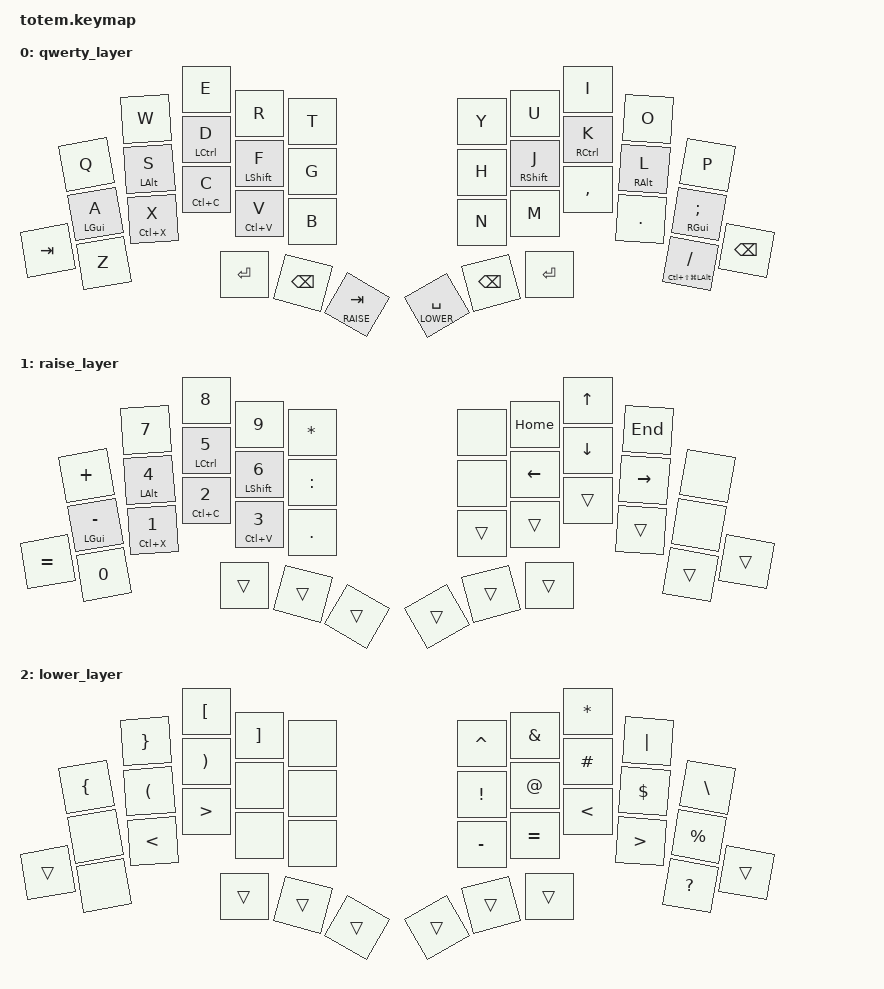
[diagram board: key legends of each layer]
//
//                                                        ▀▀▀▀▀     ▀▀▀▀▀          ▀▀█▀▀
//                                                        ▄▀▀▀▄  ▄  ▄▀▀▀▄  ▄  ▄▀▀▀▄  █  ▄▀▀▀▄
//                                                        █   █  █  █   █  █  █   █  █  █   █
//                                                         ▀▀▀   █   ▀▀▀   █   ▀▀▀   ▀   ▀▀▀
//                                                               █      ▄▄▄█▄▄▄    █   █  
//                                                               ▀      █  █  █     █▄█
//                                                             ▀▀▀▀▀    █  █  █      ▀
//                                                                      ▀  ▀  ▀
//
// ▄▄▄▄▄▄▄▄▄▄▄▄▄▄▄▄▄▄▄▄▄▄▄▄▄▄▄▄▄▄▄▄▄▄▄▄▄▄▄▄▄▄▄▄▄▄▄▄▄▄▄▄▄▄▄▄▄▄▄▄▄▄▄▄▄▄▄▄▄▄▄▄▄▄▄▄▄▄▄▄▄▄▄▄▄▄▄▄▄▄▄▄▄▄▄▄▄▄▄▄▄▄▄▄▄▄▄▄▄▄▄▄▄▄▄▄▄▄▄▄▄▄▄▄▄▄▄▄▄▄▄▄▄▄▄▄▄▄▄▄▄▄▄▄▄▄▄▄▄
       

#include <behaviors.dtsi>
#include <dt-bindings/zmk/keys.h>
#include <dt-bindings/zmk/bt.h>
#include <dt-bindings/zmk/outputs.h>

#define QWERTY 0
#define RAISE 1
#define LOWER 2

//      ╭────────────────╮     ╭────────────────╮
//      |  0  1  2  3  4 |     |  5  6  7  8  9 |
//      ├────────────────┤     ├────────────────┤
// ╭────┤ 10 11 12 13 14 |     | 15 16 17 18 19 ├────╮
// | 20 ├────────────────┤     ├────────────────┤ 31 |
// ╰────┤ 21 22 23 24 25 |     | 26 27 28 29 30 ├────╯
//      ╰───────┬────────┴─╮ ╭─┴────────┬───────╯
//              | 32 33 34 | | 35 36 37 |
//              ╰──────────╯ ╰──────────╯

/ {
    behaviors {
		hm: homerow_mods {
			// https://zmk.dev/docs/behaviors/hold-tap#example-use-cases
			compatible = "zmk,behavior-hold-tap";
			label = "HOMEROW_MODS";
			#binding-cells = <2>;
			tapping-term-ms = <150>;
			quick-tap-ms = <0>;
			flavor = "tap-preferred";
			bindings = <&kp>, <&kp>;
		};
		phm: pinky_homerow_mods {
			compatible = "zmk,behavior-hold-tap";
			label = "HOMEROW_MODS";
			#binding-cells = <2>;
			tapping-term-ms = <200>; // longer because pinkies are weak and slow
			quick-tap-ms = <0>;
			flavor = "tap-preferred";
			bindings = <&kp>, <&kp>;
		};
		td: tap_dance {
			compatible = "zmk,behavior-hold-tap";
			label = "TAP_DANCE";
			#binding-cells = <2>;
			tapping-term-ms = <150>;
			quick-tap-ms = <0>;
			flavor = "tap-preferred";
			bindings = <&kp>, <&kp>;
		};
	};

    combos {
        compatible = "zmk,combos";

		combo_qw {
			timeout-ms = <50>;
			key-positions = <0 1>;
			bindings = <&kp ESCAPE>;
		};
		combo_rt {
			timeout-ms = <50>;
			key-positions = <3 4>;
			bindings = <&kp GRAVE>;
		};
		combo_yu {
			timeout-ms = <50>;
			key-positions = <5 6>;
			bindings = <&kp PLUS>;
		};
		combo_fg {
			timeout-ms = <50>;
			key-positions = <13 14>;
			bindings = <&kp SQT>;
		};
		combo_hj {
			timeout-ms = <50>;
			key-positions = <15 16>;
			bindings = <&kp MINUS>;
		};
		combo_fj {
			timeout-ms = <50>;
			key-positions = <13 16>;
			bindings = <&caps_word>;
		};
		combo_xc {
		    timeout-ms = <50>;
			key-positions = <22 23>;
			bindings = <&kp TILDE>;
		};
		combo_vb {
		    timeout-ms = <50>;
			key-positions = <24 25>;
			bindings = <&kp DQT>;
		};
		combo_nm {
			timeout-ms = <50>;
			key-positions = <26 27>;
			bindings = <&kp EQUAL>;
		};
		combo_commadot {
			timeout-ms = <50>;
			key-positions = <28 29>;
			bindings = <&kp UNDERSCORE>;
		};
    };

    keymap {
        compatible = "zmk,keymap";
// ▄▄▄▄▄▄▄▄▄▄▄▄▄▄▄▄▄▄▄▄▄▄▄▄▄▄▄▄▄▄▄▄▄▄▄▄▄▄▄▄▄▄▄▄▄▄▄▄▄▄▄▄▄▄▄▄▄▄▄▄▄▄▄▄▄▄▄▄▄▄▄▄▄▄▄▄▄▄▄▄▄▄▄▄▄▄▄▄▄▄▄▄▄▄▄▄▄▄▄▄▄▄▄▄▄▄▄▄▄▄▄▄▄▄▄▄▄▄▄▄▄▄▄▄▄▄▄▄▄▄▄▄▄▄▄▄▄▄▄▄▄▄▄▄▄▄▄▄▄

        qwerty_layer {
//             ┏━━━━━━━━━━━┳━━━━━━━━━━━┳━━━━━━━━━━━┳━━━━━━━━━━━┳━━━━━━━━━━━┓   ┏━━━━━━━━━━━┳━━━━━━━━━━━┳━━━━━━━━━━━┳━━━━━━━━━━━┳━━━━━━━━━━━┓
//             ┃     Q     ┃     W     ┃     E     ┃     R     ┃     T     ┃   ┃     Y     ┃     U     ┃     I     ┃     O     ┃     P     ┃
//             ┣━━━━━━━━━━━╋━━━━━━━━━━━╋━━━━━━━━━━━╋━━━━━━━━━━━╋━━━━━━━━━━━┫   ┣━━━━━━━━━━━╋━━━━━━━━━━━╋━━━━━━━━━━━╋━━━━━━━━━━━╋━━━━━━━━━━━┫
//             ┃     A     ┃     S     ┃     D     ┃     F     ┃     G     ┃   ┃     H     ┃     J     ┃     K     ┃     L     ┃     ;     ┃
// ┏━━━━━━━━━━━╋━━━━━━━━━━━╋━━━━━━━━━━━╋━━━━━━━━━━━╋━━━━━━━━━━━╋━━━━━━━━━━━┫   ┣━━━━━━━━━━━╋━━━━━━━━━━━╋━━━━━━━━━━━╋━━━━━━━━━━━╋━━━━━━━━━━━╋━━━━━━━━━━━┓
// ┃    TAB    ┃     Z     ┃     X     ┃     C     ┃     V     ┃     B     ┃   ┃     N     ┃     M     ┃     ,     ┃     .     ┃     /     ┃    BSPC   ┃
// ┗━━━━━━━━━━━┻━━━━━━━━━━━┻━━━━━━━━━━━╋━━━━━━━━━━━╋━━━━━━━━━━━╋━━━━━━━━━━━┫   ┣━━━━━━━━━━━╋━━━━━━━━━━━╋━━━━━━━━━━━╋━━━━━━━━━━━┻━━━━━━━━━━━┻━━━━━━━━━━━┛
//                                     ┃   ENTER   ┃   BSPC    ┃    TAB    ┃   ┃   SPACE   ┃           ┃   ENTER   ┃
//                                     ┗━━━━━━━━━━━┻━━━━━━━━━━━┻━━━━━━━━━━━┛   ┗━━━━━━━━━━━┻━━━━━━━━━━━┻━━━━━━━━━━━┛
            bindings = <
                &kp Q        &kp W       &kp E       &kp R       &kp T           &kp Y       &kp U       &kp I       &kp O       &kp P
                &phm LGUI A  &hm LALT S  &hm LCTRL D &hm LSHFT F &kp G           &kp H       &hm RSHFT J &hm RCTRL K &hm RALT L  &phm RGUI SEMI
    &kp TAB     &kp Z        &td LC(X) X &td LC(C) C &td LC(V) V &kp B           &kp N       &kp M       &kp COMMA   &kp DOT     &phm LC(LS(LG(LALT))) SLASH    &kp BSPC
                                       &kp RET     &kp BSPC  &lt RAISE TAB  &lt LOWER SPACE  &kp BSPC    &kp RET
            >;
        };

// ▄▄▄▄▄▄▄▄▄▄▄▄▄▄▄▄▄▄▄▄▄▄▄▄▄▄▄▄▄▄▄▄▄▄▄▄▄▄▄▄▄▄▄▄▄▄▄▄▄▄▄▄▄▄▄▄▄▄▄▄▄▄▄▄▄▄▄▄▄▄▄▄▄▄▄▄▄▄▄▄▄▄▄▄▄▄▄▄▄▄▄▄▄▄▄▄▄▄▄▄▄▄▄▄▄▄▄▄▄▄▄▄▄▄▄▄▄▄▄▄▄▄▄▄▄▄▄▄▄▄▄▄▄▄▄▄▄▄▄▄▄▄▄▄▄▄▄▄▄


        raise_layer {
//        |  +  |  7  |  8  |  9  |  *  |             |     | HOME |  UP  |  END  |     |
//        |  -  |  4  |  5  |  6  |  :  |             |     | LEFT | DOWN | RIGHT |     |
//  |  =  |  0  |  1  |  2  |  3  |  .  |             |     |      |      |       |     |     |
//                          |     |     |[HELD]| |    |     |      |
            bindings = <
                &kp PLUS        &kp N7       &kp N8       &kp N9       &kp STAR      &none	&kp HOME &kp UP   &kp END   &none
                &phm LGUI MINUS &hm LALT N4  &hm LCTRL N5 &hm LSHFT N6 &kp COLON     &none	&kp LEFT &kp DOWN &kp RIGHT	&none
      &kp EQUAL &kp N0          &td LC(X) N1 &td LC(C) N2 &td LC(V) N3 &kp PERIOD    &trans	&trans   &trans   &trans    &trans &trans     
                                             &trans       &trans       &trans        &trans &trans   &trans      
            >;
        };

// ▄▄▄▄▄▄▄▄▄▄▄▄▄▄▄▄▄▄▄▄▄▄▄▄▄▄▄▄▄▄▄▄▄▄▄▄▄▄▄▄▄▄▄▄▄▄▄▄▄▄▄▄▄▄▄▄▄▄▄▄▄▄▄▄▄▄▄▄▄▄▄▄▄▄▄▄▄▄▄▄▄▄▄▄▄▄▄▄▄▄▄▄▄▄▄▄▄▄▄▄▄▄▄▄▄▄▄▄▄▄▄▄▄▄▄▄▄▄▄▄▄▄▄▄▄▄▄▄▄▄▄▄▄▄▄▄▄▄▄▄▄▄▄▄▄▄▄▄▄


        lower_layer {
//        |  {  |  }  |  [  |  ]  |     |              |  ^  |  &  |  *  |  |  |  \  |
//        |     |  (  |  )  |     |     |              |  !  |  @  |  #  |  $  |  %  |
//  |     |     |     |     |     |     |              |  -  |  =  |  <  |  >  |  ?  |     |
//                          |     |     |     | |[HELD]|     |     |     |
            bindings = <
                &kp LBRC &kp RBRC &kp LBKT &kp RBKT	&none     &kp CARET	&kp AMPS  &kp STAR	&kp PIPE &kp BSLH
                &none	 &kp LPAR &kp RPAR &none   	&none     &kp EXCL	&kp AT    &kp HASH	&kp DLLR &kp PRCNT
        &trans  &none	 &kp LT	  &kp GT   &none	&none     &kp MINUS	&kp EQUAL &kp LT    &kp GT   &kp QMARK  &trans
                                  &trans   &trans   &trans    &trans    &trans   &trans    
            >;
        };
    };
};
